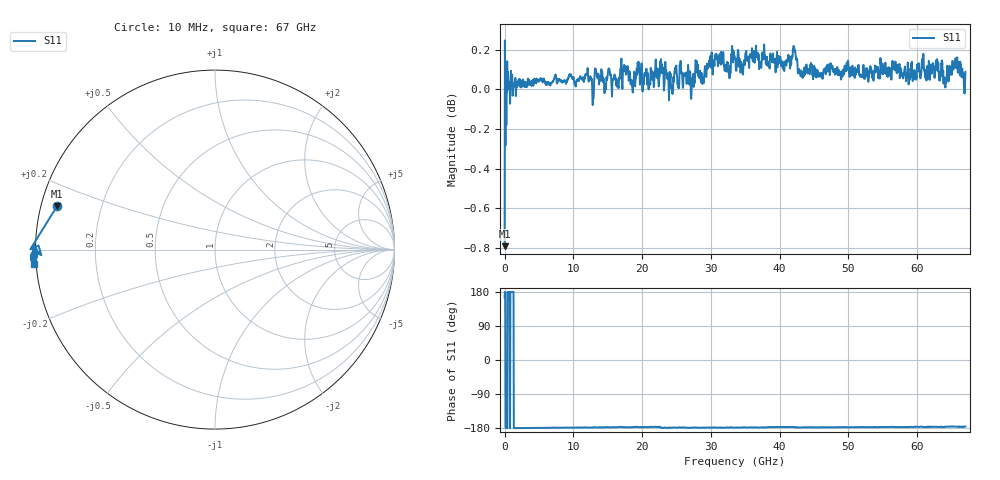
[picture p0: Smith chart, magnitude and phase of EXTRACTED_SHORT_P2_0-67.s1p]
! Generated by Phase I extraction
# Hz S RI R 50
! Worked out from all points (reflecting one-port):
!   1601 points, 10 MHz to 67 GHz, reference 50 ohm
!   lowest |S11| = -0.8 dB at 10 MHz (marker M1), VSWR 21.96, Z = 2.32 + j6.72 ohm
!   phase of S11 starts at 165 deg and turns +20 deg over the sweep
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1e7  -0.8804 0.2414
3.868188e8  -1.016 -0.00125
4.705562e8  -1.002 0.00591
8.47375e8  -0.9975 0.00963
1.726619e9  -1.004 -0.00697
8.38375e9  -1.004 -0.0243
1.554331e10  -1.002 -0.0322
1.67575e10  -1.005 -0.0622
1.818104e10  -1.01 -0.0431
1.901841e10  -1.003 -0.0603
1.985579e10  -1.009 -0.057
2.21167e10  -1.005 -0.0551
2.307968e10  -1.013 -0.0134
2.513125e10  -1.003 -0.0182
2.676413e10  -1.006 -0.0143
3.3505e10  -1.018 -0.0283
4.187875e10  -1.017 -0.0607
4.292547e10  -1.01 -0.0351
5.02525e10  -1.01 -0.0443
5.615599e10  -1.006 -0.0588
5.862625e10  -1.015 -0.0487
5.992418e10  -1.004 -0.0721
6.122211e10  -1.008 -0.0533
6.243631e10  -1.011 -0.0633
6.385984e10  -1.005 -0.0596
6.519964e10  -1.009 -0.0706
6.649758e10  -1.005 -0.0678
6.7e10  -1.007 -0.0792
